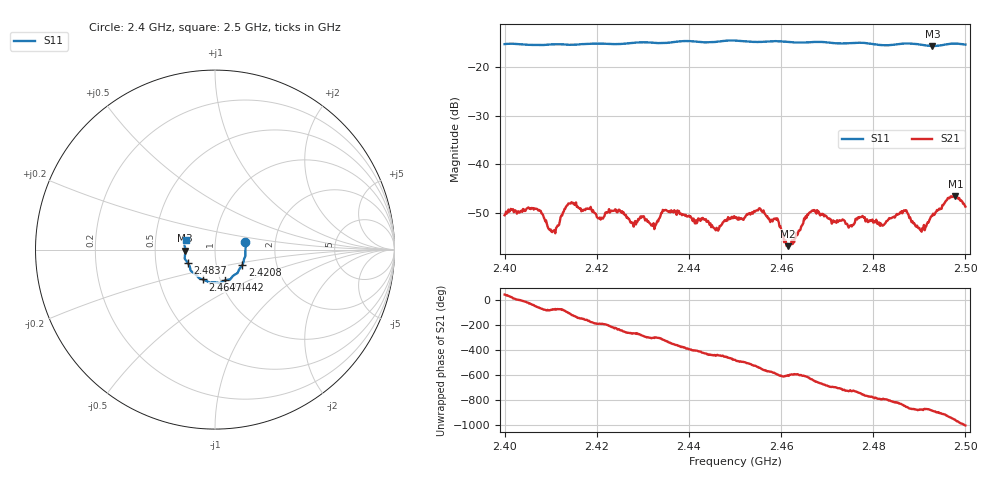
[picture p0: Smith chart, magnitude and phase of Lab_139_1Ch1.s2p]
# Hz S RI R 50
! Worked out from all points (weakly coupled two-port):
!   601 points, 2.4 GHz to 2.5 GHz, reference 50 ohm
!   highest |S21| = -46.57 dB at 2.4978 GHz (marker M1); lowest = -56.9 dB at 2.4615 GHz (marker M2)
!   lowest |S11| = -15.6 dB at 2.4928 GHz (marker M3), VSWR 1.40, Z = 35.8 - j0.373 ohm
!   |S11| at or under -10 dB: start of sweep to end of sweep
!   S12 and S22 are empty: the file has one direction only
!   S11 on the Smith chart (normalised r, x): 2.4 GHz: 1.40, +0.12; 2.4208 GHz: 1.33, -0.24; 2.4442 GHz: 1.05, -0.37; 2.4647 GHz: 0.83, -0.29; 2.4837 GHz: 0.73, -0.11; 2.5 GHz: 0.72, +0.08
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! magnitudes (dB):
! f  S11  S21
! 2.4 GHz  -15.2  -50.5
! 2.407 GHz  -15.4  -49.2
! 2.4105 GHz  -15.3  -53.7
! 2.414 GHz  -15.4  -48.1
! 2.4167 GHz  -15.3  -49.7
! 2.4208 GHz  -15.1  -51.4
! 2.4333 GHz  -15.0  -51.8
! 2.4442 GHz  -14.9  -51.7
! 2.45 GHz  -14.5  -51.0
! 2.4557 GHz  -14.8  -49.5
! 2.459 GHz  -14.6  -51.5
! 2.4615 GHz  -14.8  -56.9
! 2.4647 GHz  -14.9  -52.4
! 2.4667 GHz  -14.8  -49.6
! 2.475 GHz  -15.0  -52.6
! 2.4833 GHz  -15.5  -51.3
! 2.4837 GHz  -15.4  -51.2
! 2.487 GHz  -15.1  -49.7
! 2.4903 GHz  -15.3  -53.7
! 2.4928 GHz  -15.6  -50.7
! 2.4978 GHz  -15.1  -46.6
! 2.5 GHz  -15.3  -48.7
